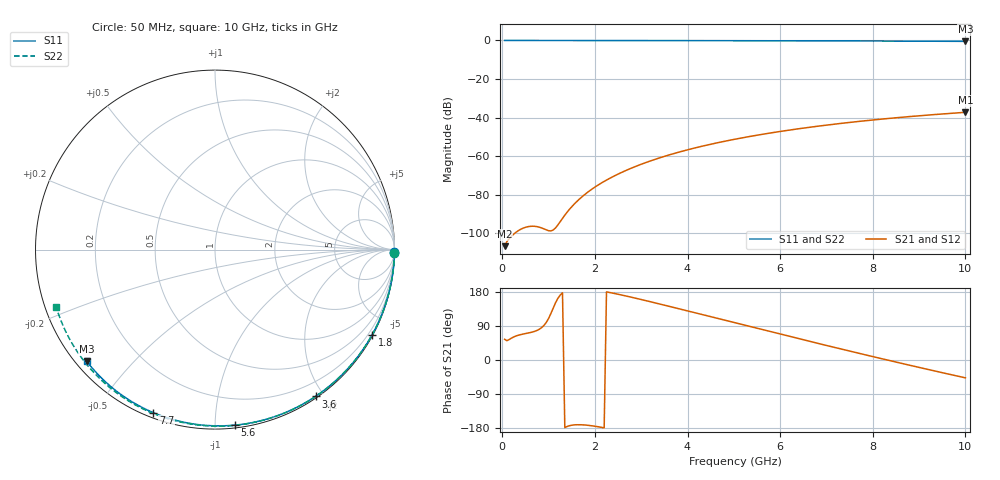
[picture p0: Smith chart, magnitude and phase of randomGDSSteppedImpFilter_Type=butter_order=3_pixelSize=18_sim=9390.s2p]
! freq	dB(S11)	phase(S11)	dB(S12)	phase(S12)
!  dB(S21)	phase(S21)	dB(S22)	phase(S22)
!S-par simulation data
#  GHz  S  DB  R 50
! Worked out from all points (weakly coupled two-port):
!   200 points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, 50 MHz to 10 GHz, reference 50 ohm
!   highest |S21| = -37.26 dB at 10 GHz (marker M1); lowest = -106.7 dB at 50 MHz (marker M2)
!   lowest |S11| = -0.5 dB at 10 GHz (marker M3), VSWR 37.09, Z = 1.54 - j18.7 ohm
!   |S11| at or under -10 dB: nowhere
!   |S22| runs from -0.5 to 0.0 dB; largest |S21 - S12| = 0
!   S11 on the Smith chart (normalised r, x): 50 MHz: open; 1.8 GHz: 0.03, -3.94; 3.6 GHz: 0.02, -1.90; 5.6 GHz: 0.02, -1.12; 7.7 GHz: 0.02, -0.69; 10 GHz: 0.03, -0.37
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0.05  -0.00 -0.8  -106.66 54.7  -106.66 54.7  -0.00 -0.9
0.45  -0.01 -7.2  -97.32 68.5  -97.32 68.5  -0.01 -8.4
0.85  -0.02 -13.6  -97.23 85.4  -97.23 85.4  -0.02 -15.7
1.3  -0.03 -20.7  -92.24 177.3  -92.24 177.3  -0.03 -23.9
1.75  -0.04 -27.7  -80.47 -171.2  -80.47 -171.2  -0.04 -32.0
1.8  -0.04 -28.5  -79.50 -171.7  -79.50 -171.7  -0.04 -32.9
1.95  -0.04 -30.8  -76.85 -173.9  -76.85 -173.9  -0.05 -35.6
2.1  -0.04 -33.1  -74.50 -176.8  -74.50 -176.8  -0.05 -38.2
2.3  -0.05 -36.2  -71.73 178.6  -71.73 178.6  -0.05 -41.8
2.5  -0.05 -39.2  -69.28 173.6  -69.28 173.6  -0.06 -45.3
2.9  -0.06 -45.2  -65.11 162.5  -65.11 162.5  -0.07 -52.2
3.4  -0.07 -52.7  -60.85 147.8  -60.85 147.8  -0.08 -60.7
3.6  -0.07 -55.6  -59.37 141.7  -59.37 141.7  -0.09 -64.0
4.3  -0.09 -65.7  -54.91 120.4  -54.91 120.4  -0.11 -75.5
5.05  -0.12 -76.1  -51.08 97.3  -51.08 97.3  -0.13 -87.4
5.6  -0.14 -83.6  -48.72 80.5  -48.72 80.5  -0.16 -95.8
6.15  -0.16 -90.9  -46.64 63.9  -46.64 63.9  -0.19 -104.1
6.7  -0.19 -98.1  -44.81 47.3  -44.81 47.3  -0.22 -112.3
7.7  -0.25 -110.8  -41.97 17.7  -41.97 17.7  -0.29 -126.8
8.35  -0.30 -118.8  -40.42 -1.1  -40.42 -1.1  -0.35 -136.1
9.2  -0.38 -129.2  -38.66 -25.2  -38.66 -25.2  -0.44 -148.3
10  -0.47 -139.0  -37.26 -47.1  -37.26 -47.1  -0.53 -160.0
